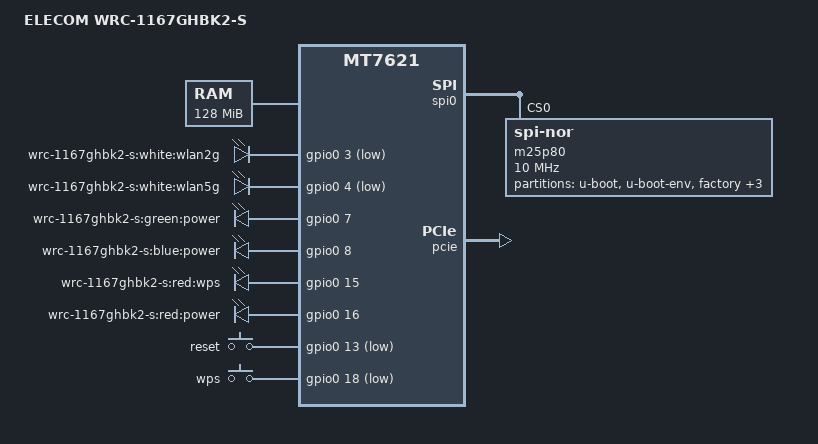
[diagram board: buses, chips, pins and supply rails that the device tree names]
/dts-v1/;

#include "mt7621.dtsi"

#include <dt-bindings/gpio/gpio.h>
#include <dt-bindings/input/input.h>

/ {
	compatible = "elecom,wrc-1167ghbk2-s", "mediatek,mt7621-soc";
	model = "ELECOM WRC-1167GHBK2-S";

	memory@0 {
		device_type = "memory";
		reg = <0x0 0x8000000>;
	};

	chosen {
		bootargs = "console=ttyS0,57600";
	};

	gpio-leds {
		compatible = "gpio-leds";

		wlan2g {
			label = "wrc-1167ghbk2-s:white:wlan2g";
			gpios = <&gpio0 3 GPIO_ACTIVE_LOW>;
		};

		wlan5g {
			label = "wrc-1167ghbk2-s:white:wlan5g";
			gpios = <&gpio0 4 GPIO_ACTIVE_LOW>;
		};

		power_green {
			label = "wrc-1167ghbk2-s:green:power";
			gpios = <&gpio0 7 GPIO_ACTIVE_HIGH>;
		};

		power_blue {
			label = "wrc-1167ghbk2-s:blue:power";
			gpios = <&gpio0 8 GPIO_ACTIVE_HIGH>;
		};

		wps {
			label = "wrc-1167ghbk2-s:red:wps";
			gpios = <&gpio0 15 GPIO_ACTIVE_HIGH>;
		};

		power_red {
			label = "wrc-1167ghbk2-s:red:power";
			gpios = <&gpio0 16 GPIO_ACTIVE_HIGH>;
		};
	};

	gpio-keys-polled {
		compatible = "gpio-keys-polled";
		#address-cells = <1>;
		#size-cells = <0>;
		poll-interval = <20>;

		reset {
			label = "reset";
			gpios = <&gpio0 13 GPIO_ACTIVE_LOW>;
			linux,code = <KEY_RESTART>;
		};

		wps {
			label = "wps";
			gpios = <&gpio0 18 GPIO_ACTIVE_LOW>;
			linux,code = <KEY_WPS_BUTTON>;
		};
	};
};

&ethernet {
	mtd-mac-address = <&factory 0xe000>;
};

&spi0 {
	status = "okay";

	m25p80@0 {
		#address-cells = <1>;
		#size-cells = <1>;
		compatible = "jedec,spi-nor";
		reg = <0>;
		spi-max-frequency = <10000000>;
		m25p,chunked-io = <32>;

		partition@0 {
			label = "u-boot";
			reg = <0x0 0x30000>;
			read-only;
		};

		partition@30000 {
			label = "u-boot-env";
			reg = <0x30000 0x10000>;
			read-only;
		};

		factory: partition@40000 {
			label = "factory";
			reg = <0x40000 0x10000>;
			read-only;
		};

		partition@50000 {
			label = "firmware";
			reg = <0x50000 0xf20000>;
		};

		partition@f70000 {
			label = "user_data";
			reg = <0xf70000 0x80000>;
			read-only;
		};

		partition@ff0000 {
			label = "NVRAM";
			reg = <0xff0000 0x10000>;
			read-only;
		};
	};
};

&pinctrl {
	state_default: pinctrl0 {
		gpio {
			ralink,group = "i2c", "uart3", "jtag", "wdt";
			ralink,function = "gpio";
		};
	};
};

&pcie {
	status = "okay";
	// WRC-1167GHBK2-S has MT7615D for 2.4/5 GHz wifi,
	// but it's not supported in OpenWrt.
};

&xhci {
	status = "disabled";
};
